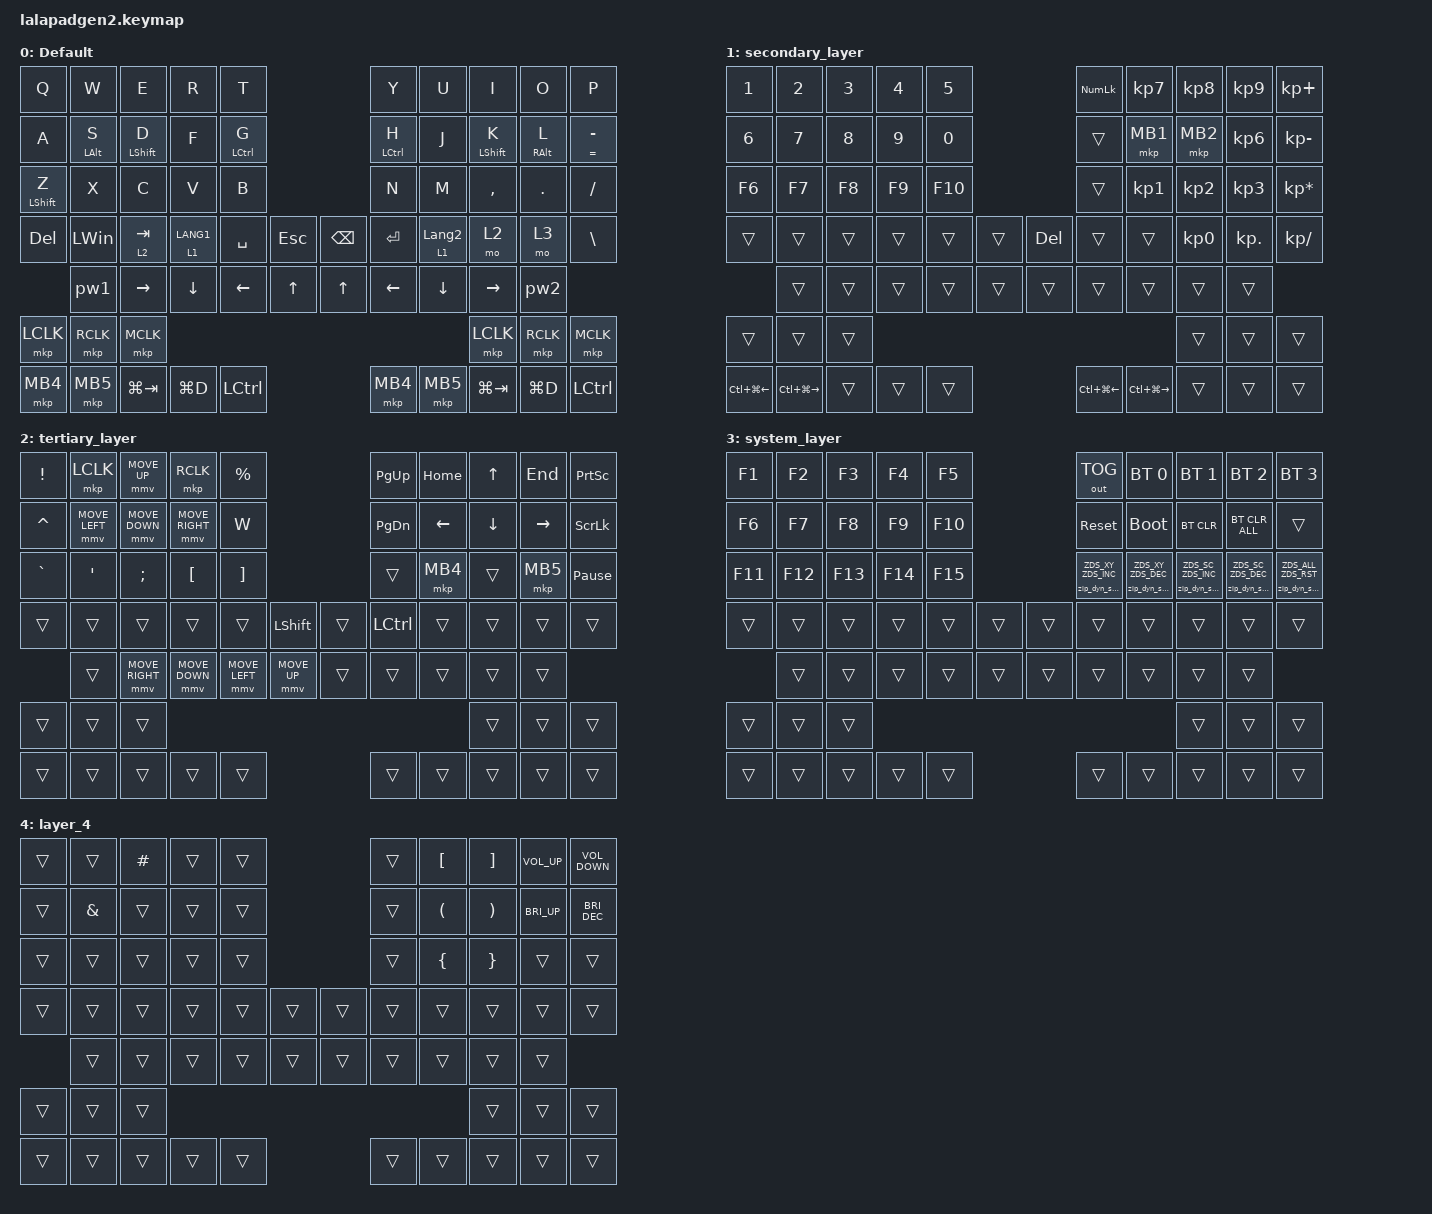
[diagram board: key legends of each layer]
#include <input/processors.dtsi>
#include <dt-bindings/zmk/zip_dynamic_scale.h>
#include <behaviors.dtsi>
#include <dt-bindings/zmk/bt.h>
#include <dt-bindings/zmk/keys.h>
#include <dt-bindings/zmk/outputs.h>
#include <dt-bindings/zmk/pointing.h>

#define DEFAULT_LAYER   0
#define SECONDARY_LAYER 1
#define TERTIARY_LAYER  2
#define SYSTEM_LAYER    3

&mt {
    quick-tap-ms = <200>;
    tapping-term-ms = <300>;
    flavor = "balanced";
};

&lt { quick-tap-ms = <200>; };

/ {
    behaviors {
        zip_dyn_scale: zip_dyn_scale {
            compatible = "zmk,behavior-zip-dynamic-scale";
            #binding-cells = <2>;
        };

        zip_dyn_scale_set: zip_dyn_scale_set {
            compatible = "zmk,behavior-zip-dynamic-scale-set";
            #binding-cells = <2>;
        };

        mt2: mod_tap2 {
            compatible = "zmk,behavior-hold-tap";
            #binding-cells = <2>;
            flavor = "tap-preferred";
            tapping-term-ms = <200>;
            quick-tap-ms = <200>;
            require-prior-idle-ms = <125>;
            bindings = <&kp>, <&kp>;
        };

        tap_dance_layer_1and2: tap_dance_layer_1and2 {
            compatible = "zmk,behavior-tap-dance";
            label = "td_mo12";
            #binding-cells = <0>;
            bindings = <&mo 1>, <&mo 2>;
        };
    };

    combos {
        compatible = "zmk,combos";

        /* --- ここに誤爆対策プロパティを追加 --- */

        timeout-ms = <25>;             // 判定時間を厳しく（20〜30がおすすめ）
        require-prior-idle-ms = <150>; // タイピング中の誤爆を完全防止（100〜150がおすすめ）
        // 以下、定義しているコンボ

        CONBO_ESC {
            bindings = <&kp ESCAPE>;
            key-positions = <0 1>;
        };

        COMBO_TAB {
            bindings = <&kp TAB>;
            key-positions = <10 11>;
        };

        COMBO_Backspace {
            bindings = <&kp BACKSPACE>;
            key-positions = <13 12>;
        };

        COMBO-Delete {
            bindings = <&kp DELETE>;
            key-positions = <8 9>;
        };
    };

    macros {
        pw1: pw1 {
            compatible = "zmk,behavior-macro";
            #binding-cells = <0>;
            bindings = <&key_repeat &kp LS(S) &kp H &kp I &kp N &kp A &kp G &kp A &kp W &kp A &kp N1 &kp N1 &kp N1>;
            label = "PW1";
        };

        pw2: pw2 {
            compatible = "zmk,behavior-macro";
            #binding-cells = <0>;
            bindings = <&key_repeat &kp LS(A) &kp M &kp A &kp Z &kp O &kp N &kp N1 &kp N1 &kp N1>;
            label = "PW2";
        };

        copy: copy {
            compatible = "zmk,behavior-macro";
            #binding-cells = <0>;
            bindings = <&kp LC(C)>;
            label = "COPY";
        };

        paste: paste {
            compatible = "zmk,behavior-macro";
            #binding-cells = <0>;
            bindings = <&kp LC(V)>;
            label = "PASTE";
        };
    };

    keymap {
        compatible = "zmk,keymap";

        DEFAULT_LAYER {
            display-name = "Default";
            bindings = <
&kp Q              &kp W           &kp E             &kp R        &kp T                                   &kp Y        &kp U             &kp I             &kp O            &kp P
&kp A              &mt LEFT_ALT S  &mt LEFT_SHIFT D  &kp F        &mt LCTRL G                             &mt LCTRL H  &kp J             &mt LEFT_SHIFT K  &mt RIGHT_ALT L  &mt2 EQUAL MINUS
&mt2 LEFT_SHIFT Z  &kp X           &kp C             &kp V        &kp B                                   &kp N        &kp M             &kp COMMA         &kp PERIOD       &kp SLASH
&kp DEL            &kp LWIN        &lt 2 TAB         &lt 1 LANG1  &kp SPACE    &kp ESCAPE  &kp BACKSPACE  &kp ENTER    &lt 1 LANGUAGE_2  &mo 2             &mo 3            &kp BACKSLASH
                   &pw1            &kp RIGHT         &kp DOWN     &kp LEFT     &kp UP      &kp UP         &kp LEFT     &kp DOWN          &kp RIGHT         &pw2
&mkp LCLK          &mkp RCLK       &mkp MCLK                                                                                             &mkp LCLK         &mkp RCLK        &mkp MCLK
&mkp MB4           &mkp MB5        &kp LG(TAB)       &kp LG(D)    &kp LCTRL                               &mkp MB4     &mkp MB5          &kp LG(TAB)       &kp LG(D)        &kp LCTRL
            >;
        };

        SECONDARY_LAYER {
            display-name = "secondary_layer";
            bindings = <
&kp NUMBER_1      &kp NUMBER_2       &kp NUMBER_3  &kp NUMBER_4  &kp N5                    &kp KP_NUMLOCK    &kp KP_NUMBER_7    &kp KP_NUMBER_8  &kp KP_NUMBER_9  &kp KP_PLUS
&kp NUMBER_6      &kp N7             &kp N8        &kp N9        &kp N0                    &trans            &mkp MB1           &mkp MB2         &kp KP_NUMBER_6  &kp KP_MINUS
&kp F6            &kp F7             &kp F8        &kp F9        &kp F10                   &trans            &kp KP_NUMBER_1    &kp KP_NUMBER_2  &kp KP_NUMBER_3  &kp KP_ASTERISK
&trans            &trans             &trans        &trans        &trans   &trans  &kp DEL  &trans            &trans             &kp KP_NUMBER_0  &kp KP_DOT       &kp KP_DIVIDE
                  &trans             &trans        &trans        &trans   &trans  &trans   &trans            &trans             &trans           &trans
&trans            &trans             &trans                                                                                     &trans           &trans           &trans
&kp LC(LG(LEFT))  &kp LC(LG(RIGHT))  &trans        &trans        &trans                    &kp LC(LG(LEFT))  &kp LC(LG(RIGHT))  &trans           &trans           &trans
            >;
        };

        TERTIARY_LAYER {
            display-name = "tertiary_layer";
            bindings = <
&kp EXCLAMATION  &mkp LCLK       &mmv MOVE_UP     &mkp RCLK         &kp PERCENT                                &kp PAGE_UP       &kp HOME  &kp UP_ARROW    &kp END    &kp PRINTSCREEN
&kp CARET        &mmv MOVE_LEFT  &mmv MOVE_DOWN   &mmv MOVE_RIGHT   &kp W                                      &kp PAGE_DOWN     &kp LEFT  &kp DOWN_ARROW  &kp RIGHT  &kp SCROLLLOCK
&kp GRAVE        &kp SQT         &kp SEMI         &kp LEFT_BRACKET  &kp RIGHT_BRACKET                          &trans            &mkp MB4  &trans          &mkp MB5   &kp PAUSE_BREAK
&trans           &trans          &trans           &trans            &trans             &kp LEFT_SHIFT  &trans  &kp LEFT_CONTROL  &trans    &trans          &trans     &trans
                 &trans          &mmv MOVE_RIGHT  &mmv MOVE_DOWN    &mmv MOVE_LEFT     &mmv MOVE_UP    &trans  &trans            &trans    &trans          &trans
&trans           &trans          &trans                                                                                                    &trans          &trans     &trans
&trans           &trans          &trans           &trans            &trans                                     &trans            &trans    &trans          &trans     &trans
            >;
        };

        SYSTEM_LAYER {
            display-name = "system_layer";
            bindings = <
&kp F1   &kp F2   &kp F3   &kp F4   &kp F5                   &out OUT_TOG                   &bt BT_SEL 0                   &bt BT_SEL 1                   &bt BT_SEL 2                   &bt BT_SEL 3
&kp F6   &kp F7   &kp F8   &kp F9   &kp F10                  &sys_reset                     &bootloader                    &bt BT_CLR                     &bt BT_CLR_ALL                 &trans
&kp F11  &kp F12  &kp F13  &kp F14  &kp F15                  &zip_dyn_scale ZDS_XY ZDS_INC  &zip_dyn_scale ZDS_XY ZDS_DEC  &zip_dyn_scale ZDS_SC ZDS_INC  &zip_dyn_scale ZDS_SC ZDS_DEC  &zip_dyn_scale ZDS_ALL ZDS_RST
&trans   &trans   &trans   &trans   &trans   &trans  &trans  &trans                         &trans                         &trans                         &trans                         &trans
         &trans   &trans   &trans   &trans   &trans  &trans  &trans                         &trans                         &trans                         &trans
&trans   &trans   &trans                                                                                                   &trans                         &trans                         &trans
&trans   &trans   &trans   &trans   &trans                   &trans                         &trans                         &trans                         &trans                         &trans
            >;
        };

        layer_4 {
            bindings = <
&trans  &trans         &kp HASH  &trans  &trans                  &trans  &kp LEFT_BRACKET      &kp RIGHT_BRACKET      &kp K_VOLUME_UP  &kp K_VOLUME_DOWN
&trans  &kp AMPERSAND  &trans    &trans  &trans                  &trans  &kp LEFT_PARENTHESIS  &kp RIGHT_PARENTHESIS  &kp C_BRI_UP     &kp C_BRIGHTNESS_DEC
&trans  &trans         &trans    &trans  &trans                  &trans  &kp LEFT_BRACE        &kp RIGHT_BRACE        &trans           &trans
&trans  &trans         &trans    &trans  &trans  &trans  &trans  &trans  &trans                &trans                 &trans           &trans
        &trans         &trans    &trans  &trans  &trans  &trans  &trans  &trans                &trans                 &trans
&trans  &trans         &trans                                                                  &trans                 &trans           &trans
&trans  &trans         &trans    &trans  &trans                  &trans  &trans                &trans                 &trans           &trans
            >;
        };
    };

    conditional_layers {
        compatible = "zmk,conditional-layers";

        Cond_Syslayer {
            if-layers = <1 2>;
            then-layer = <3>;
        };
    };
};
